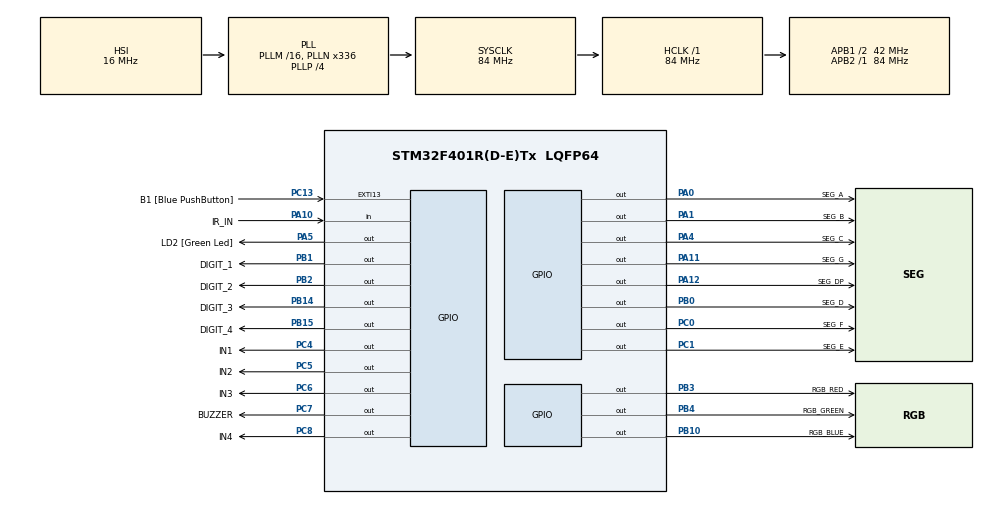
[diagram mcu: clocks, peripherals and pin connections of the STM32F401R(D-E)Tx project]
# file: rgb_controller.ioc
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Mcu.Family=STM32F4
Mcu.Name=STM32F401R(D-E)Tx
Mcu.Package=LQFP64
NVIC.PriorityGroup=NVIC_PRIORITYGROUP_0
PA0-WKUP.GPIO_Label=SEG_A
PA0-WKUP.Signal=GPIO_Output
PA1.GPIO_Label=SEG_B
PA1.Signal=GPIO_Output
PA10.GPIO_Label=IR_IN
PA10.GPIO_Mode=GPIO_MODE_INPUT
PA10.GPIO_PuPd=GPIO_PULLUP
PA10.Signal=GPIO_Input
PA11.GPIO_Label=SEG_G
PA11.Signal=GPIO_Output
PA12.GPIO_Label=SEG_DP
PA12.Signal=GPIO_Output
PA13.GPIO_Label=TMS
PA13.Signal=SYS_JTMS-SWDIO
PA14.GPIO_Label=TCK
PA14.Signal=SYS_JTCK-SWCLK
PA2.GPIO_Label=USART_TX
PA2.GPIO_Mode=GPIO_MODE_AF_PP
PA2.GPIO_PuPd=GPIO_NOPULL
PA2.GPIO_Speed=GPIO_SPEED_FREQ_LOW
PA2.Signal=USART2_TX
PA3.GPIO_Label=USART_RX
PA3.GPIO_Mode=GPIO_MODE_AF_PP
PA3.GPIO_PuPd=GPIO_NOPULL
PA3.GPIO_Speed=GPIO_SPEED_FREQ_LOW
PA3.Signal=USART2_RX
PA4.GPIO_Label=SEG_C
PA4.Signal=GPIO_Output
PA5.GPIO_Label=LD2 [Green Led]
PA5.GPIO_Mode=GPIO_MODE_OUTPUT_PP
PA5.GPIO_PuPd=GPIO_NOPULL
PA5.GPIO_Speed=GPIO_SPEED_FREQ_LOW
PA5.Signal=GPIO_Output
PB0.GPIO_Label=SEG_D
PB0.Signal=GPIO_Output
PB1.GPIO_Label=DIGIT_1
PB1.Signal=GPIO_Output
PB10.GPIO_Label=RGB_BLUE
PB10.Signal=GPIO_Output
PB14.GPIO_Label=DIGIT_3
PB14.Signal=GPIO_Output
PB15.GPIO_Label=DIGIT_4
PB15.Signal=GPIO_Output
PB2.GPIO_Label=DIGIT_2
PB2.Signal=GPIO_Output
PB3.GPIO_Label=RGB_RED
PB3.Signal=GPIO_Output
PB4.GPIO_Label=RGB_GREEN
PB4.Signal=GPIO_Output
PC0.GPIO_Label=SEG_F
PC0.Signal=GPIO_Output
PC1.GPIO_Label=SEG_E
PC1.Signal=GPIO_Output
PC13-ANTI_TAMP.GPIO_Label=B1 [Blue PushButton]
PC13-ANTI_TAMP.GPIO_ModeDefaultEXTI=GPIO_MODE_IT_FALLING
PC13-ANTI_TAMP.GPIO_PuPd=GPIO_NOPULL
PC13-ANTI_TAMP.Signal=GPXTI13
PC14-OSC32_IN.Signal=RCC_OSC32_IN
PC15-OSC32_OUT.Signal=RCC_OSC32_OUT
PC4.GPIO_Label=IN1
PC4.Signal=GPIO_Output
PC5.GPIO_Label=IN2
PC5.Signal=GPIO_Output
PC6.GPIO_Label=IN3
PC6.Signal=GPIO_Output
PC7.GPIO_Label=BUZZER
PC7.Signal=GPIO_Output
PC8.GPIO_Label=IN4
PC8.Signal=GPIO_Output
PH0\ -\ OSC_IN.Signal=RCC_OSC_IN
PH1\ -\ OSC_OUT.Signal=RCC_OSC_OUT
ProjectManager.HeapSize=0x200
ProjectManager.StackSize=0x400
ProjectManager.TargetToolchain=STM32CubeIDE
RCC.AHBFreq_Value=84000000
RCC.APB1CLKDivider=RCC_HCLK_DIV2
RCC.APB1Freq_Value=42000000
RCC.APB1TimFreq_Value=84000000
RCC.APB2Freq_Value=84000000
RCC.APB2TimFreq_Value=84000000
RCC.CortexFreq_Value=84000000
RCC.HCLKFreq_Value=84000000
RCC.HSE_VALUE=8000000
RCC.HSI_VALUE=16000000
RCC.LSE_VALUE=32768
RCC.PLLN=336
RCC.PLLP=RCC_PLLP_DIV4
RCC.PLLQ=7
RCC.SYSCLKFreq_VALUE=84000000
RCC.SYSCLKSource=RCC_SYSCLKSOURCE_PLLCLK
RCC.VCOOutputFreq_Value=336000000
TIM3.Period=65535
TIM3.Prescaler=83
VP_TIM3_VS_ClockSourceINT.Mode=Internal
board=NUCLEO-F401RE

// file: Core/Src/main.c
/* USER CODE BEGIN Header */
/**
  ******************************************************************************
  * @file           : main.c
  * @brief          : Main program body
  ******************************************************************************
  * @attention
  *
  * Copyright (c) 2026 STMicroelectronics.
  * All rights reserved.
  *
  * This software is licensed under terms that can be found in the LICENSE file
  * in the root directory of this software component.
  * If no LICENSE file comes with this software, it is provided AS-IS.
  *
  ******************************************************************************
  */
/* USER CODE END Header */
#include "main.h"

TIM_HandleTypeDef htim3;

/* USER CODE BEGIN PV */
uint32_t raw_data = 0;
uint32_t code = 0;
extern TIM_HandleTypeDef htim3; // Timer3 referansı

uint16_t sayac = 0;
// 0-9 arası rakamların segment kodları (A,B,C,D,E,F,G sırasıyla)
// Ortak Katot (Common Cathode) ekran için:
uint8_t segment_tablosu[] = {
    0x3F, // 0
    0x06, // 1
    0x5B, // 2
    0x4F, // 3
    0x66, // 4
    0x6D, // 5
    0x7D, // 6
    0x07, // 7
    0x7F, // 8
    0x6F  // 9
};
/* USER CODE END PV */

void SystemClock_Config(void);
static void MX_GPIO_Init(void);
static void MX_TIM3_Init(void);
/* USER CODE BEGIN PFP */
uint32_t get_us(void) {
    return __HAL_TIM_GET_COUNTER(&htim3);
}

void Ekran_Goster(uint16_t sayi) {
    int basamaklar[4];
    basamaklar[0] = (sayi / 1000) % 10;
    basamaklar[1] = (sayi / 100) % 10;
    basamaklar[2] = (sayi / 10) % 10;
    basamaklar[3] = sayi % 10;

    GPIO_TypeDef* Digit_Ports[] = {DIGIT_1_GPIO_Port, DIGIT_2_GPIO_Port, DIGIT_3_GPIO_Port, DIGIT_4_GPIO_Port};
    uint16_t Digit_Pins[] = {DIGIT_1_Pin, DIGIT_2_Pin, DIGIT_3_Pin, DIGIT_4_Pin};

    for (int i = 0; i < 4; i++) {
        // Hepsini söndür
        HAL_GPIO_WritePin(GPIOB, DIGIT_1_Pin|DIGIT_2_Pin|DIGIT_3_Pin|DIGIT_4_Pin, GPIO_PIN_SET);

        // Segmentleri yak
        uint8_t mask = segment_tablosu[basamaklar[i]];
        HAL_GPIO_WritePin(GPIOA, SEG_A_Pin|SEG_B_Pin|SEG_C_Pin|SEG_G_Pin|SEG_DP_Pin, GPIO_PIN_RESET); // Önce temizle

        HAL_GPIO_WritePin(SEG_A_GPIO_Port, SEG_A_Pin, (mask & 0x01) ? GPIO_PIN_SET : GPIO_PIN_RESET);
        HAL_GPIO_WritePin(SEG_B_GPIO_Port, SEG_B_Pin, (mask & 0x02) ? GPIO_PIN_SET : GPIO_PIN_RESET);
        HAL_GPIO_WritePin(SEG_C_GPIO_Port, SEG_C_Pin, (mask & 0x04) ? GPIO_PIN_SET : GPIO_PIN_RESET);
        HAL_GPIO_WritePin(SEG_D_GPIO_Port, SEG_D_Pin, (mask & 0x08) ? GPIO_PIN_SET : GPIO_PIN_RESET);
        HAL_GPIO_WritePin(SEG_E_GPIO_Port, SEG_E_Pin, (mask & 0x10) ? GPIO_PIN_SET : GPIO_PIN_RESET);
        HAL_GPIO_WritePin(SEG_F_GPIO_Port, SEG_F_Pin, (mask & 0x20) ? GPIO_PIN_SET : GPIO_PIN_RESET);
        HAL_GPIO_WritePin(SEG_G_GPIO_Port, SEG_G_Pin, (mask & 0x40) ? GPIO_PIN_SET : GPIO_PIN_RESET);

        // Digiti seç (Aktif et)
        HAL_GPIO_WritePin(Digit_Ports[i], Digit_Pins[i], GPIO_PIN_RESET);
        HAL_Delay(0.01);
        HAL_GPIO_WritePin(Digit_Ports[i], Digit_Pins[i], GPIO_PIN_SET);
    }
}

void Bekle_Ve_Tazele(uint32_t ms) {
    uint32_t start = HAL_GetTick();

    // En az bir kez ekranı tazele (4ms civarı sürer)
    Ekran_Goster(sayac);

    // Eğer istenen süre (ms) hala dolmadıysa taramaya devam et
    while (HAL_GetTick() - start < ms) {
        Ekran_Goster(sayac);
    }
}

void Step_Motor_Sur(int tam_tur_sayisi) {
    // 28BYJ-48 için bir tam tur yaklaşık 512 adımdır (Full step modunda)

	// --- BAŞA EKLE: Tuşa basıldığı an ses çıksın ---
	    HAL_GPIO_WritePin(GPIOC, GPIO_PIN_7, GPIO_PIN_SET); // Buzzer Aç
	    uint32_t bip_baslangic = HAL_GetTick();
	    while(HAL_GetTick() - bip_baslangic < 100) { // 100ms boyunca
	        Ekran_Goster(sayac); // Ses çıkarken ekran sönmesin
	    }
	    HAL_GPIO_WritePin(GPIOC, GPIO_PIN_7, GPIO_PIN_RESET); // Buzzer Kapat
	    // ----------------------------------------------

    int toplam_adim = tam_tur_sayisi * 512;

    for(int i = 0; i < toplam_adim; i++) {
        // Adım 1
        HAL_GPIO_WritePin(GPIOC, IN1_Pin, 1);
        HAL_GPIO_WritePin(GPIOC, IN2_Pin|IN3_Pin|IN4_Pin, 0);
        Bekle_Ve_Tazele(2);

        // Adım 2
        HAL_GPIO_WritePin(GPIOC, IN2_Pin, 1);
        HAL_GPIO_WritePin(GPIOC, IN1_Pin|IN3_Pin|IN4_Pin, 0);
        Bekle_Ve_Tazele(2);

        // Adım 3
        HAL_GPIO_WritePin(GPIOC, IN3_Pin, 1);
        HAL_GPIO_WritePin(GPIOC, IN1_Pin|IN2_Pin|IN4_Pin, 0);
        Bekle_Ve_Tazele(2);

        // Adım 4
        HAL_GPIO_WritePin(GPIOC, IN4_Pin, 1);
        HAL_GPIO_WritePin(GPIOC, IN1_Pin|IN2_Pin|IN3_Pin, 0);
        Bekle_Ve_Tazele(2);

//        // Her 10 adımda bir ekranı tazele ki sönük kalmasın
//        if(i % 10 == 0) Ekran_Goster(sayac);
    }
    // Enerjiyi kes (Isınmayı önle)
    HAL_GPIO_WritePin(GPIOC, IN1_Pin|IN2_Pin|IN3_Pin|IN4_Pin, 0);
}
/* USER CODE END PFP */

int main(void)
{

  /* MCU Configuration--------------------------------------------------------*/

  /* Reset of all peripherals, Initializes the Flash interface and the Systick. */
  HAL_Init();

  /* Configure the system clock */
  SystemClock_Config();

  /* Initialize all configured peripherals */
  MX_GPIO_Init();
  MX_TIM3_Init();
  /* USER CODE BEGIN 2 */
  HAL_TIM_Base_Start(&htim3); // Timer3'ü başlat
  HAL_Delay(400);
  HAL_GPIO_WritePin(GPIOC, GPIO_PIN_7, GPIO_PIN_SET);
  HAL_Delay(500);
  HAL_GPIO_WritePin(GPIOC, GPIO_PIN_7, GPIO_PIN_RESET);

  HAL_GPIO_WritePin(GPIOB, DIGIT_4_Pin, GPIO_PIN_RESET); // Sadece 4. haneyi yakmaya çalış
 // HAL_GPIO_WritePin(GPIOB, GPIO_PIN_3, GPIO_PIN_SET);

  // LED durumlarını tutmak için değişkenler
  uint8_t r = 0, g = 0, b = 0;
  /* USER CODE END 2 */

  /* Infinite loop */
  /* USER CODE BEGIN WHILE */

  /* USER CODE BEGIN WHILE */
  /* USER CODE BEGIN WHILE */
  while (1)
  {
      Ekran_Goster(sayac);

      // RGB LED'leri sür (Katot: 1=YAKAR, 0=SÖNDÜRÜR)
      HAL_GPIO_WritePin(GPIOB, RGB_RED_Pin, (r == 1) ? GPIO_PIN_SET : GPIO_PIN_RESET);
      HAL_GPIO_WritePin(GPIOB, RGB_GREEN_Pin, (g == 1) ? GPIO_PIN_SET : GPIO_PIN_RESET);
      HAL_GPIO_WritePin(GPIOB, RGB_BLUE_Pin, (b == 1) ? GPIO_PIN_SET : GPIO_PIN_RESET);

      if (HAL_GPIO_ReadPin(GPIOA, GPIO_PIN_10) == GPIO_PIN_RESET)
      {
          __HAL_TIM_SET_COUNTER(&htim3, 0);
          while (HAL_GPIO_ReadPin(GPIOA, GPIO_PIN_10) == GPIO_PIN_RESET && __HAL_TIM_GET_COUNTER(&htim3) < 15000);

          if (__HAL_TIM_GET_COUNTER(&htim3) > 2000)
          {
              uint32_t temp_data = 0;
              __HAL_TIM_SET_COUNTER(&htim3, 0);
              while (HAL_GPIO_ReadPin(GPIOA, GPIO_PIN_10) == GPIO_PIN_SET && __HAL_TIM_GET_COUNTER(&htim3) < 10000);

              for (int i = 0; i < 32; i++)
              {
                  __HAL_TIM_SET_COUNTER(&htim3, 0);
                  while (HAL_GPIO_ReadPin(GPIOA, GPIO_PIN_10) == GPIO_PIN_RESET && __HAL_TIM_GET_COUNTER(&htim3) < 5000);
                  __HAL_TIM_SET_COUNTER(&htim3, 0);
                  while (HAL_GPIO_ReadPin(GPIOA, GPIO_PIN_10) == GPIO_PIN_SET && __HAL_TIM_GET_COUNTER(&htim3) < 5000);
                  if (__HAL_TIM_GET_COUNTER(&htim3) > 1000) temp_data |= (1UL << (31 - i));
              }
              code = temp_data;

              if (code != 0 && code != 0xFFFFFFFF)
              {
                  r = 0; g = 0; b = 0; // Renkleri sıfırla
                  uint8_t key = (uint8_t)(code & 0xFF); // Sadece son 8 bite odaklan

                  // --- GÜNCEL KONTROL MANTIGI ---
                  if (key == 0x66) { // 12. Tuş (Motor 3 Tur)
                          sayac++;

                           Step_Motor_Sur(3);
                                    }
                  else if (key == 0x85) { // 12. Tuş (Motor 3 Tur)
                      sayac++;
                      Step_Motor_Sur(3);
                  }
                  // RENK TUŞLARI
                  else if (key == 0x5D) { // 1, (Kırmızı)
                      r = 1; sayac += 1;
                  }
                  else if ( key == 0xFD) { //  5 (Mavi)
                      b = 1; sayac += 1;
                  }
                  else if (key == 0x1D) { // 3 (Yeşil)
                      g = 1; sayac += 1;
                  }
                  // DIGERLERI
                  else if (key == 0xCF) { sayac = 0; }     // 10 (Sıfırla)
                  else if (key == 0x4F) {
                	  HAL_Delay(100);
                	  sayac += 200;
                	  HAL_Delay(50);
                  }  // 9 (+200)
//                  else { sayac++; } // Hiçbiri tutmazsa genel artış

                  if (sayac > 9999) sayac %= 10000;

                  // BUZZER ONAY
                  HAL_GPIO_WritePin(GPIOC, GPIO_PIN_7, GPIO_PIN_SET);
                  uint32_t t_bip = HAL_GetTick();
                  while(HAL_GetTick() - t_bip < 100) Ekran_Goster(sayac);
                  HAL_GPIO_WritePin(GPIOC, GPIO_PIN_7, GPIO_PIN_RESET);

                  while(HAL_GPIO_ReadPin(GPIOA, GPIO_PIN_10) == GPIO_PIN_RESET) Ekran_Goster(sayac);
              }
          }

  }
//    	    // TU�?LARI Ö�?RENME KODU:......................................................................
//
//	            Ekran_Goster(sayac);
//
//    	          if (HAL_GPIO_ReadPin(GPIOA, GPIO_PIN_10) == GPIO_PIN_RESET)
//    	          {
//    	              __HAL_TIM_SET_COUNTER(&htim3, 0);
//    	              // Leader Pulse: NEC standardı 9ms'dir.
//    	              while (HAL_GPIO_ReadPin(GPIOA, GPIO_PIN_10) == GPIO_PIN_RESET && __HAL_TIM_GET_COUNTER(&htim3) < 15000);
//
//    	              uint32_t pulse = __HAL_TIM_GET_COUNTER(&htim3);
//
//    	              // Sinyal 4ms'den büyükse (Gürültü değilse) okumaya başla
//    	              if (pulse > 4000)
//    	              {
//    	                  // Başlangıç boşluğunu (4.5ms) geç
//    	                  __HAL_TIM_SET_COUNTER(&htim3, 0);
//    	                  while (HAL_GPIO_ReadPin(GPIOA, GPIO_PIN_10) == GPIO_PIN_SET && __HAL_TIM_GET_COUNTER(&htim3) < 10000);
//
//    	                  uint32_t temp_data = 0;
//    	                  for (int i = 0; i < 32; i++)
//    	                  {
//    	                      // Bit başındaki kısa LOW darbesini (560us) bekle
//    	                      __HAL_TIM_SET_COUNTER(&htim3, 0);
//    	                      while (HAL_GPIO_ReadPin(GPIOA, GPIO_PIN_10) == GPIO_PIN_RESET && __HAL_TIM_GET_COUNTER(&htim3) < 5000);
//
//    	                      // Bit değerini belirleyen HIGH süresini ölç
//    	                      __HAL_TIM_SET_COUNTER(&htim3, 0);
//    	                      while (HAL_GPIO_ReadPin(GPIOA, GPIO_PIN_10) == GPIO_PIN_SET && __HAL_TIM_GET_COUNTER(&htim3) < 5000);
//
//    	                      // Eğer HIGH süresi 1000us'den uzunsa "1", kısa ise "0"
//    	                      if (__HAL_TIM_GET_COUNTER(&htim3) > 1000) {
//    	                          temp_data |= (1UL << (31 - i));
//    	                      }
//    	                  }
//    	                  code = temp_data; // BREAKPOINT BURAYA
//
//    	                  if (code != 0 && code != 0xFFFFFFFF) {
//    	                      // Sadece gerçek kod gelince bip yap
//    	                      HAL_GPIO_WritePin(GPIOC, GPIO_PIN_7, GPIO_PIN_SET);
//    	                      HAL_Delay(100);
//    	                      HAL_GPIO_WritePin(GPIOC, GPIO_PIN_7, GPIO_PIN_RESET);
//    	                  }
//
//    	                  // Elini tuştan çekene kadar bekle
//    	                  while(HAL_GPIO_ReadPin(GPIOA, GPIO_PIN_10) == GPIO_PIN_RESET) {
//    	                      Ekran_Goster(sayac);
//    	                  }
//
//    	          }
//
//  }
//

//
//  }
//   İLK ÇALI�?AN HALİ..........................................................................
//    	// 1. Ekranı her zaman tazele
//    	  Ekran_Goster(sayac);
//
//    	  // 2. PA10'da herhangi bir hareket var mı?
//    	  if (HAL_GPIO_ReadPin(GPIOA, GPIO_PIN_10) == GPIO_PIN_RESET)
//    	  {
//    	    // Küçük bir gecikme ile gürültü kontrolü yap (En az 500us sinyal sürsün)
//    	    uint32_t baslangic = HAL_GetTick();
//
//    	    // Tuşa basıldığında yapılacak işlemler
//    	    sayac++;
//    	    if (sayac > 9999) sayac = 0;
//
//    	    // Buzzer'ı öttür
//    	    HAL_GPIO_WritePin(GPIOC, GPIO_PIN_7, GPIO_PIN_SET);
//
//    	    // Bip sesi sırasında ekranı 100ms boyunca tazele
//    	    uint32_t bip_vakti = HAL_GetTick();
//    	    while(HAL_GetTick() - bip_vakti < 100) {
//    	        Ekran_Goster(sayac);
//    	    }
//    	    HAL_GPIO_WritePin(GPIOC, GPIO_PIN_7, GPIO_PIN_RESET);
//
//    	    // Tuş basılı tutulduğu sürece bekle ve ekranı tazele (Sürekli artışı önler)
//    	    // Eğer sensör bozulduysa burada sonsuz döngüye girebilir, dikkat!
//    	    uint32_t timeout = HAL_GetTick();
//    	    while(HAL_GPIO_ReadPin(GPIOA, GPIO_PIN_10) == GPIO_PIN_RESET && (HAL_GetTick() - timeout < 500)) {
//    	        Ekran_Goster(sayac);
//    	    }
//    	  }
    }

    /* USER CODE END WHILE */

}

void SystemClock_Config(void)
{
  RCC_OscInitTypeDef RCC_OscInitStruct = {0};
  RCC_ClkInitTypeDef RCC_ClkInitStruct = {0};

  /** Configure the main internal regulator output voltage
  */
  __HAL_RCC_PWR_CLK_ENABLE();
  __HAL_PWR_VOLTAGESCALING_CONFIG(PWR_REGULATOR_VOLTAGE_SCALE2);

  /** Initializes the RCC Oscillators according to the specified parameters
  * in the RCC_OscInitTypeDef structure.
  */
  RCC_OscInitStruct.OscillatorType = RCC_OSCILLATORTYPE_HSI;
  RCC_OscInitStruct.HSIState = RCC_HSI_ON;
  RCC_OscInitStruct.HSICalibrationValue = RCC_HSICALIBRATION_DEFAULT;
  RCC_OscInitStruct.PLL.PLLState = RCC_PLL_ON;
  RCC_OscInitStruct.PLL.PLLSource = RCC_PLLSOURCE_HSI;
  RCC_OscInitStruct.PLL.PLLM = 16;
  RCC_OscInitStruct.PLL.PLLN = 336;
  RCC_OscInitStruct.PLL.PLLP = RCC_PLLP_DIV4;
  RCC_OscInitStruct.PLL.PLLQ = 7;
  if (HAL_RCC_OscConfig(&RCC_OscInitStruct) != HAL_OK)
  {
    Error_Handler();
  }

  /** Initializes the CPU, AHB and APB buses clocks
  */
  RCC_ClkInitStruct.ClockType = RCC_CLOCKTYPE_HCLK|RCC_CLOCKTYPE_SYSCLK
                              |RCC_CLOCKTYPE_PCLK1|RCC_CLOCKTYPE_PCLK2;
  RCC_ClkInitStruct.SYSCLKSource = RCC_SYSCLKSOURCE_PLLCLK;
  RCC_ClkInitStruct.AHBCLKDivider = RCC_SYSCLK_DIV1;
  RCC_ClkInitStruct.APB1CLKDivider = RCC_HCLK_DIV2;
  RCC_ClkInitStruct.APB2CLKDivider = RCC_HCLK_DIV1;

  if (HAL_RCC_ClockConfig(&RCC_ClkInitStruct, FLASH_LATENCY_2) != HAL_OK)
  {
    Error_Handler();
  }
}

static void MX_TIM3_Init(void)
{

  TIM_ClockConfigTypeDef sClockSourceConfig = {0};
  TIM_MasterConfigTypeDef sMasterConfig = {0};

  htim3.Instance = TIM3;
  htim3.Init.Prescaler = 83;
  htim3.Init.CounterMode = TIM_COUNTERMODE_UP;
  htim3.Init.Period = 65535;
  htim3.Init.ClockDivision = TIM_CLOCKDIVISION_DIV1;
  htim3.Init.AutoReloadPreload = TIM_AUTORELOAD_PRELOAD_DISABLE;
  if (HAL_TIM_Base_Init(&htim3) != HAL_OK)
  {
    Error_Handler();
  }
  sClockSourceConfig.ClockSource = TIM_CLOCKSOURCE_INTERNAL;
  if (HAL_TIM_ConfigClockSource(&htim3, &sClockSourceConfig) != HAL_OK)
  {
    Error_Handler();
  }
  sMasterConfig.MasterOutputTrigger = TIM_TRGO_RESET;
  sMasterConfig.MasterSlaveMode = TIM_MASTERSLAVEMODE_DISABLE;
  if (HAL_TIMEx_MasterConfigSynchronization(&htim3, &sMasterConfig) != HAL_OK)
  {
    Error_Handler();
  }

}

static void MX_GPIO_Init(void)
{
  GPIO_InitTypeDef GPIO_InitStruct = {0};

  /* GPIO Ports Clock Enable */
  __HAL_RCC_GPIOC_CLK_ENABLE();
  __HAL_RCC_GPIOH_CLK_ENABLE();
  __HAL_RCC_GPIOA_CLK_ENABLE();
  __HAL_RCC_GPIOB_CLK_ENABLE();

  /*Configure GPIO pin Output Level */
  HAL_GPIO_WritePin(GPIOC, SEG_F_Pin|SEG_E_Pin|IN1_Pin|IN2_Pin
                          |IN3_Pin|BUZZER_Pin|IN4_Pin, GPIO_PIN_RESET);

  /*Configure GPIO pin Output Level */
  HAL_GPIO_WritePin(GPIOA, SEG_A_Pin|SEG_B_Pin|SEG_C_Pin|LD2_Pin
                          |SEG_G_Pin|SEG_DP_Pin, GPIO_PIN_RESET);

  /*Configure GPIO pin Output Level */
  HAL_GPIO_WritePin(GPIOB, SEG_D_Pin|DIGIT_1_Pin|DIGIT_2_Pin|RGB_BLUE_Pin
                          |DIGIT_3_Pin|DIGIT_4_Pin|RGB_RED_Pin|RGB_GREEN_Pin, GPIO_PIN_RESET);

  /*Configure GPIO pin : B1_Pin */
  GPIO_InitStruct.Pin = B1_Pin;
  GPIO_InitStruct.Mode = GPIO_MODE_IT_FALLING;
  GPIO_InitStruct.Pull = GPIO_NOPULL;
  HAL_GPIO_Init(B1_GPIO_Port, &GPIO_InitStruct);

  /*Configure GPIO pins : SEG_F_Pin SEG_E_Pin IN1_Pin IN2_Pin
                           IN3_Pin BUZZER_Pin IN4_Pin */
  GPIO_InitStruct.Pin = SEG_F_Pin|SEG_E_Pin|IN1_Pin|IN2_Pin
                          |IN3_Pin|BUZZER_Pin|IN4_Pin;
  GPIO_InitStruct.Mode = GPIO_MODE_OUTPUT_PP;
  GPIO_InitStruct.Pull = GPIO_NOPULL;
  GPIO_InitStruct.Speed = GPIO_SPEED_FREQ_LOW;
  HAL_GPIO_Init(GPIOC, &GPIO_InitStruct);

  /*Configure GPIO pins : SEG_A_Pin SEG_B_Pin SEG_C_Pin LD2_Pin
                           SEG_G_Pin SEG_DP_Pin */
  GPIO_InitStruct.Pin = SEG_A_Pin|SEG_B_Pin|SEG_C_Pin|LD2_Pin
                          |SEG_G_Pin|SEG_DP_Pin;
  GPIO_InitStruct.Mode = GPIO_MODE_OUTPUT_PP;
  GPIO_InitStruct.Pull = GPIO_NOPULL;
  GPIO_InitStruct.Speed = GPIO_SPEED_FREQ_LOW;
  HAL_GPIO_Init(GPIOA, &GPIO_InitStruct);

  /*Configure GPIO pins : USART_TX_Pin USART_RX_Pin */
  GPIO_InitStruct.Pin = USART_TX_Pin|USART_RX_Pin;
  GPIO_InitStruct.Mode = GPIO_MODE_AF_PP;
  GPIO_InitStruct.Pull = GPIO_NOPULL;
  GPIO_InitStruct.Speed = GPIO_SPEED_FREQ_LOW;
  GPIO_InitStruct.Alternate = GPIO_AF7_USART2;
  HAL_GPIO_Init(GPIOA, &GPIO_InitStruct);

  /*Configure GPIO pins : SEG_D_Pin DIGIT_1_Pin DIGIT_2_Pin RGB_BLUE_Pin
                           DIGIT_3_Pin DIGIT_4_Pin RGB_RED_Pin RGB_GREEN_Pin */
  GPIO_InitStruct.Pin = SEG_D_Pin|DIGIT_1_Pin|DIGIT_2_Pin|RGB_BLUE_Pin
                          |DIGIT_3_Pin|DIGIT_4_Pin|RGB_RED_Pin|RGB_GREEN_Pin;
  GPIO_InitStruct.Mode = GPIO_MODE_OUTPUT_PP;
  GPIO_InitStruct.Pull = GPIO_NOPULL;
  GPIO_InitStruct.Speed = GPIO_SPEED_FREQ_LOW;
  HAL_GPIO_Init(GPIOB, &GPIO_InitStruct);

  /*Configure GPIO pin : IR_IN_Pin */
  GPIO_InitStruct.Pin = IR_IN_Pin;
  GPIO_InitStruct.Mode = GPIO_MODE_INPUT;
  GPIO_InitStruct.Pull = GPIO_PULLUP;
  HAL_GPIO_Init(IR_IN_GPIO_Port, &GPIO_InitStruct);

}

void Error_Handler(void)
{
  __disable_irq();
  while (1)
  {
  }
}
